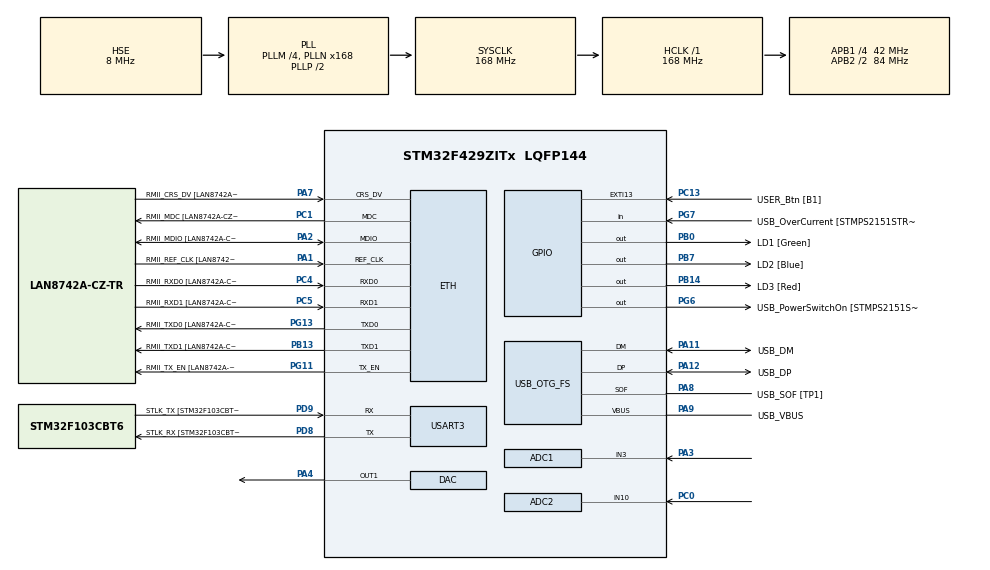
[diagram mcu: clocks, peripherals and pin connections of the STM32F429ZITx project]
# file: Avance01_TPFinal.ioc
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ADC1.Channel-4\#ChannelRegularConversion=ADC_CHANNEL_3
ADC1.ContinuousConvMode=DISABLE
ADC1.DMAContinuousRequests=ENABLE
ADC1.ExternalTrigConv=ADC_EXTERNALTRIGCONV_T3_TRGO
ADC1.InjNumberOfConversion=0
ADC1.NbrOfConversion=1
ADC1.NbrOfConversionFlag=1
ADC1.Rank-4\#ChannelRegularConversion=1
ADC1.SamplingTime-4\#ChannelRegularConversion=ADC_SAMPLETIME_84CYCLES
ADC1.master=1
ADC2.Channel-0\#ChannelRegularConversion=ADC_CHANNEL_10
ADC2.DMAContinuousRequests=ENABLE
ADC2.ExternalTrigConv=ADC_EXTERNALTRIGCONV_T3_TRGO
ADC2.NbrOfConversionFlag=1
ADC2.Rank-0\#ChannelRegularConversion=1
ADC2.SamplingTime-0\#ChannelRegularConversion=ADC_SAMPLETIME_84CYCLES
DAC.DAC_Trigger=DAC_TRIGGER_NONE
Dma.ADC1.1.Direction=DMA_PERIPH_TO_MEMORY
Dma.ADC1.1.FIFOMode=DMA_FIFOMODE_DISABLE
Dma.ADC1.1.Instance=DMA2_Stream0
Dma.ADC1.1.MemDataAlignment=DMA_MDATAALIGN_HALFWORD
Dma.ADC1.1.MemInc=DMA_MINC_ENABLE
Dma.ADC1.1.Mode=DMA_CIRCULAR
Dma.ADC1.1.PeriphDataAlignment=DMA_PDATAALIGN_HALFWORD
Dma.ADC1.1.PeriphInc=DMA_PINC_DISABLE
Dma.ADC1.1.Priority=DMA_PRIORITY_LOW
Dma.ADC2.2.Direction=DMA_PERIPH_TO_MEMORY
Dma.ADC2.2.FIFOMode=DMA_FIFOMODE_DISABLE
Dma.ADC2.2.Instance=DMA2_Stream2
Dma.ADC2.2.MemDataAlignment=DMA_MDATAALIGN_HALFWORD
Dma.ADC2.2.MemInc=DMA_MINC_ENABLE
Dma.ADC2.2.Mode=DMA_CIRCULAR
Dma.ADC2.2.PeriphDataAlignment=DMA_PDATAALIGN_HALFWORD
Dma.ADC2.2.PeriphInc=DMA_PINC_DISABLE
Dma.ADC2.2.Priority=DMA_PRIORITY_LOW
Dma.DAC1.0.Direction=DMA_MEMORY_TO_PERIPH
Dma.DAC1.0.FIFOMode=DMA_FIFOMODE_DISABLE
Dma.DAC1.0.Instance=DMA1_Stream5
Dma.DAC1.0.MemDataAlignment=DMA_MDATAALIGN_WORD
Dma.DAC1.0.MemInc=DMA_MINC_ENABLE
Dma.DAC1.0.Mode=DMA_CIRCULAR
Dma.DAC1.0.PeriphDataAlignment=DMA_PDATAALIGN_WORD
Dma.DAC1.0.PeriphInc=DMA_PINC_DISABLE
Dma.DAC1.0.Priority=DMA_PRIORITY_LOW
Dma.Request0=DAC1
Dma.Request1=ADC1
Dma.Request2=ADC2
ETH.MediaInterface=HAL_ETH_RMII_MODE
ETH.PHY_Name=LAN8742A_PHY_ADDRESS
ETH.PHY_Value=0
ETH.PhyAddress=0
LWIP.BSP.number=1
LWIP.GATEWAY_ADDRESS=192.168.005.001
LWIP.IP_ADDRESS=192.168.005.226
LWIP.LWIP_DHCP=0
LWIP.NETMASK_ADDRESS=255.255.255.000
LWIP.Version=v2.1.2_Cube
LWIP0.BSP.STBoard=false
LWIP0.BSP.api=BSP_COMPONENT_DRIVER
LWIP0.BSP.component=LAN8742
LWIP0.BSP.instance=LAN8742
LWIP0.BSP.name=Driver_PHY
LWIP0.BSP.semaphore=S_LAN8742
LWIP0.BSP.solution=LAN8742
Mcu.Family=STM32F4
Mcu.Name=STM32F429ZITx
Mcu.Package=LQFP144
NVIC.ADC_IRQn=true\:0\:0\:false\:false\:true\:true\:true\:true
NVIC.DMA1_Stream5_IRQn=true\:0\:0\:false\:false\:true\:false\:true\:true
NVIC.DMA2_Stream0_IRQn=true\:0\:0\:false\:false\:true\:false\:true\:true
NVIC.DMA2_Stream2_IRQn=true\:0\:0\:false\:false\:true\:false\:true\:true
NVIC.ETH_IRQn=true\:0\:0\:false\:false\:true\:true\:true\:true
NVIC.PriorityGroup=NVIC_PRIORITYGROUP_4
NVIC.TIM1_UP_TIM10_IRQn=true\:0\:0\:false\:false\:true\:true\:true\:true
NVIC.TIM3_IRQn=true\:0\:0\:false\:false\:true\:true\:true\:true
NVIC.TIM6_DAC_IRQn=true\:0\:0\:false\:false\:true\:true\:true\:true
NVIC.TIM8_UP_TIM13_IRQn=true\:0\:0\:false\:false\:true\:true\:true\:true
PA1.GPIO_Label=RMII_REF_CLK [LAN8742A-CZ-TR_REFCLK0]
PA1.Mode=RMII
PA1.Signal=ETH_REF_CLK
PA10.GPIO_Label=USB_ID
PA10.Signal=USB_OTG_FS_ID
PA11.GPIO_Label=USB_DM
PA11.Mode=Device_Only
PA11.Signal=USB_OTG_FS_DM
PA12.GPIO_Label=USB_DP
PA12.Mode=Device_Only
PA12.Signal=USB_OTG_FS_DP
PA13.GPIO_Label=TMS
PA13.Mode=Serial_Wire
PA13.Signal=SYS_JTMS-SWDIO
PA14.GPIO_Label=TCK
PA14.Mode=Serial_Wire
PA14.Signal=SYS_JTCK-SWCLK
PA2.GPIO_Label=RMII_MDIO [LAN8742A-CZ-TR_MDIO]
PA2.Mode=RMII
PA2.Signal=ETH_MDIO
PA3.Signal=ADCx_IN3
PA4.Signal=COMP_DAC1_group
PA7.GPIO_Label=RMII_CRS_DV [LAN8742A-CZ-TR_CRS_DV]
PA7.Mode=RMII
PA7.Signal=ETH_CRS_DV
PA8.GPIO_Label=USB_SOF [TP1]
PA8.Mode=Activate_SOF_FS
PA8.Signal=USB_OTG_FS_SOF
PA9.GPIO_Label=USB_VBUS
PA9.Mode=Activate_VBUS
PA9.Signal=USB_OTG_FS_VBUS
PB0.GPIO_Label=LD1 [Green]
PB0.Signal=GPIO_Output
PB13.GPIO_Label=RMII_TXD1 [LAN8742A-CZ-TR_TXD1]
PB13.Mode=RMII
PB13.Signal=ETH_TXD1
PB14.GPIO_Label=LD3 [Red]
PB14.Signal=GPIO_Output
PB7.GPIO_Label=LD2 [Blue]
PB7.Signal=GPIO_Output
PC0.Signal=ADCx_IN10
PC1.GPIO_Label=RMII_MDC [LAN8742A-CZ-TR_MDC]
PC1.Mode=RMII
PC1.Signal=ETH_MDC
PC13.GPIO_Label=USER_Btn [B1]
PC13.Signal=GPXTI13
PC14/OSC32_IN.Mode=LSE-External-Oscillator
PC14/OSC32_IN.Signal=RCC_OSC32_IN
PC15/OSC32_OUT.Mode=LSE-External-Oscillator
PC15/OSC32_OUT.Signal=RCC_OSC32_OUT
PC4.GPIO_Label=RMII_RXD0 [LAN8742A-CZ-TR_RXD0]
PC4.Mode=RMII
PC4.Signal=ETH_RXD0
PC5.GPIO_Label=RMII_RXD1 [LAN8742A-CZ-TR_RXD1]
PC5.Mode=RMII
PC5.Signal=ETH_RXD1
PD8.GPIO_Label=STLK_RX [STM32F103CBT6_PA3]
PD8.Mode=Asynchronous
PD8.Signal=USART3_TX
PD9.GPIO_Label=STLK_TX [STM32F103CBT6_PA2]
PD9.Mode=Asynchronous
PD9.Signal=USART3_RX
PG11.GPIO_Label=RMII_TX_EN [LAN8742A-CZ-TR_TXEN]
PG11.Mode=RMII
PG11.Signal=ETH_TX_EN
PG13.GPIO_Label=RMII_TXD0 [LAN8742A-CZ-TR_TXD0]
PG13.Mode=RMII
PG13.Signal=ETH_TXD0
PG6.GPIO_Label=USB_PowerSwitchOn [STMPS2151STR_EN]
PG6.Signal=GPIO_Output
PG7.GPIO_Label=USB_OverCurrent [STMPS2151STR_FAULT]
PG7.Signal=GPIO_Input
PH0/OSC_IN.GPIO_Label=MCO [STM32F103CBT6_PA8]
PH0/OSC_IN.Mode=HSE-External-Clock-Source
PH0/OSC_IN.Signal=RCC_OSC_IN
PH1/OSC_OUT.Mode=HSE-External-Clock-Source
PH1/OSC_OUT.Signal=RCC_OSC_OUT
ProjectManager.HeapSize=0x200
ProjectManager.StackSize=0x400
ProjectManager.TargetToolchain=STM32CubeIDE
RCC.48MHZClocksFreq_Value=48000000
RCC.AHBFreq_Value=168000000
RCC.APB1CLKDivider=RCC_HCLK_DIV4
RCC.APB1Freq_Value=42000000
RCC.APB1TimFreq_Value=84000000
RCC.APB2CLKDivider=RCC_HCLK_DIV2
RCC.APB2Freq_Value=84000000
RCC.APB2TimCLKDivider=2
RCC.APB2TimFreq_Value=168000000
RCC.CortexFreq_Value=168000000
RCC.HCLKFreq_Value=168000000
RCC.HSE_VALUE=8000000
RCC.HSI_VALUE=16000000
RCC.PLLM=4
RCC.PLLMUL=RCC_PLL_MUL9
RCC.PLLN=168
RCC.PLLQ=7
RCC.PRESCALERUSB=RCC_USBCLKSOURCE_PLL_DIV1_5
RCC.SYSCLKFreq_VALUE=168000000
RCC.SYSCLKSource=RCC_SYSCLKSOURCE_PLLCLK
RCC.SYSCLKSourceVirtual=RCC_SYSCLKSOURCE_PLLCLK
RCC.USBFreq_Value=48000000
RCC.VCOOutputFreq_Value=336000000
SH.ADCx_IN10.0=ADC2_IN10,IN10
SH.ADCx_IN3.0=ADC1_IN3,IN3
SH.COMP_DAC1_group.0=DAC_OUT1,DAC_OUT1
TIM1.AutoReloadPreload=TIM_AUTORELOAD_PRELOAD_ENABLE
TIM1.Period=1680-1
TIM1.Prescaler=20-1
TIM3.AutoReloadPreload=TIM_AUTORELOAD_PRELOAD_ENABLE
TIM3.Period=8400-1
TIM3.Prescaler=50-1
TIM3.TIM_MasterOutputTrigger=TIM_TRGO_UPDATE
TIM8.AutoReloadPreload=TIM_AUTORELOAD_PRELOAD_ENABLE
TIM8.Period=16800-1
TIM8.Prescaler=8000-1
TIM8.TIM_MasterOutputTrigger=TIM_TRGO_UPDATE
USART3.VirtualMode=VM_ASYNC
USB_OTG_FS.VirtualMode=Device_Only
VP_LWIP_VS_Enabled.Mode=Enabled
VP_TIM1_VS_ClockSourceINT.Mode=Internal
VP_TIM3_VS_ClockSourceINT.Mode=Internal
VP_TIM8_VS_ClockSourceINT.Mode=Internal
board=NUCLEO-F429ZI

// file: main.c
/* USER CODE BEGIN Header */
/**
 ******************************************************************************
 * @file           : main.c
 * @brief          : Main program body
 ******************************************************************************
 * @attention
 *
 * Copyright (c) 2024 STMicroelectronics.
 * All rights reserved.
 *
 * This software is licensed under terms that can be found in the LICENSE file
 * in the root directory of this software component.
 * If no LICENSE file comes with this software, it is provided AS-IS.
 *
 ******************************************************************************
 */
/* USER CODE END Header */
#include "main.h"
#include "adc.h"
#include "dac.h"
#include "dma.h"
#include "lwip.h"
#include "tim.h"
#include "usart.h"
#include "usb_otg.h"
#include "gpio.h"

/* USER CODE BEGIN Includes */
#include <stdbool.h>
#include "math.h"

#include "udp_client_comm.h"
#include "lwip/pbuf.h"
#include "lwip/udp.h"
#include <string.h>
#include <stdio.h>
/* USER CODE END Includes */

/* USER CODE BEGIN PTD */
typedef bool bool_t;

//struct header_struct {
//   char     pre[8];
//   uint32_t id;
//   uint16_t N;
//   uint16_t fs ;
//   uint16_t hLength ;
//   char     pos[4];
//} __attribute__ ((packed));
/* USER CODE END PTD */

/* USER CODE BEGIN PD */

#define DAC_VMAX   2480  // 4095 = 3.3V, 666 = 2.0V
#define DAC_VMIN    1241  // 4095 = 3.3V, 356 = 1.0V

#define DAC_VREF	3.3
#define DAC_RES		4096
#define SAMPLES_SIG	1800 // Tiempo en milisegundos
#define SAMPLES_ADC	40 		// Frecuencia muestreo ADC es 200 Hz
/* USER CODE END PD */

/* USER CODE BEGIN PM */

#ifdef __GNUC__
#define PUTCHAR_PROTOTYPE int __io_putchar(int ch)
#else
#define PUTCHAR_PROTOTYPE int fputc(int ch, FILE *f)
#endif
/* USER CODE END PM */

/* USER CODE BEGIN PV */
bool_t sig10hz_run = false;
bool_t dac_updt = false;
uint32_t dac_value = DAC_VMIN;

uint32_t square_vals[SAMPLES_SIG];

uint16_t adc_bufferIN[SAMPLES_ADC*2];
uint16_t adc_bufferOUT[SAMPLES_ADC*2];

uint16_t adc_samplesIN[SAMPLES_ADC];
uint16_t adc_samplesOUT[SAMPLES_ADC];

uint8_t tx_UDPout[SAMPLES_ADC*4];

bool_t sendtest=false;

bool_t rdy_midAD=false;
bool_t rdy_cpltAD=false;
bool_t proc_samples=false;

/* USER CODE END PV */

void SystemClock_Config(void);
/* USER CODE BEGIN PFP */

void app_startSignal10Hz(void);
void app_stopSignal10Hz(void);

void app_generateSquare(uint32_t *buff, uint32_t len, uint8_t duty);

//void app_setDACvalue(void);

/* USER CODE END PFP */

int main(void)
{

  /* MCU Configuration--------------------------------------------------------*/

  /* Reset of all peripherals, Initializes the Flash interface and the Systick. */
  HAL_Init();

  /* Configure the system clock */
  SystemClock_Config();

  /* Initialize all configured peripherals */
  MX_GPIO_Init();
  MX_DMA_Init();
  MX_USART3_UART_Init();
  MX_USB_OTG_FS_PCD_Init();
  MX_DAC_Init();
  MX_ADC1_Init();
  MX_TIM1_Init();
  MX_LWIP_Init();
  MX_TIM8_Init();
  MX_TIM3_Init();
  MX_ADC2_Init();
  /* USER CODE BEGIN 2 */
	udpApp_client_Initialization();

	HAL_DAC_SetValue(&hdac, DAC_CHANNEL_1, DAC_ALIGN_12B_R, DAC_VMIN);
//	app_generateSquare(square_vals, SAMPLES_SIG, 50);
//	app_startSignal10Hz();

	HAL_ADC_Start_DMA(&hadc1, (uint32_t*)adc_bufferIN, SAMPLES_ADC*2);
	HAL_ADC_Start_DMA(&hadc2, (uint32_t*)adc_bufferOUT, SAMPLES_ADC*2);
	HAL_DAC_Start(&hdac, DAC_CHANNEL_1);
	HAL_TIM_Base_Start_IT(&htim3);
	HAL_TIM_Base_Start_IT(&htim8);
	printf("Hola mundo CDI\n");

  /* USER CODE END 2 */

  /* Infinite loop */
	while (1) {

    /* USER CODE BEGIN 3 */
		MX_LWIP_Process();	//!> Proceso de STM32 HAL LWIP utilizado para el manejo del servicio ethernet

		if (dac_updt) {
			HAL_GPIO_TogglePin(LD3_GPIO_Port, LD3_Pin);
//			dac_value  = DAC_VMIN + rand() % (DAC_VMAX+1 - DAC_VMIN);
			if (dac_value == DAC_VMIN) dac_value=DAC_VMAX;
			else dac_value = DAC_VMIN;

			HAL_DAC_SetValue(&hdac, DAC_CHANNEL_1, DAC_ALIGN_12B_R, dac_value);
			dac_updt = false;
		}

		if (rdy_midAD) {
//			HAL_GPIO_TogglePin(LD2_GPIO_Port, LD2_Pin);
			memcpy(adc_samplesIN, &adc_bufferIN[0], sizeof(adc_bufferIN) / 2 );
			memcpy(adc_samplesOUT, &adc_bufferOUT[0], sizeof(adc_bufferOUT) / 2 );
			rdy_midAD=false;
			proc_samples=true;
		}

		if (rdy_cpltAD) {
//			HAL_GPIO_TogglePin(LD3_GPIO_Port, LD3_Pin);
			memcpy(adc_samplesIN, &adc_bufferIN[SAMPLES_ADC], sizeof(adc_bufferIN) / 2);
			memcpy(adc_samplesOUT, &adc_bufferOUT[SAMPLES_ADC], sizeof(adc_bufferOUT) / 2);
			rdy_cpltAD=false;
			proc_samples=true;
		}

		if (proc_samples) {
			HAL_GPIO_TogglePin(LD1_GPIO_Port, LD1_Pin);

			memcpy(&tx_UDPout[0], &adc_samplesIN[0], sizeof(adc_samplesIN));
			memcpy(&tx_UDPout[sizeof(adc_samplesIN)], &adc_samplesOUT[0], sizeof(adc_samplesOUT));

			udpApp_client_send2((char*)&tx_UDPout,sizeof(tx_UDPout));

			proc_samples=false;
		}

	}
  /* USER CODE END 3 */
}

void SystemClock_Config(void)
{
  RCC_OscInitTypeDef RCC_OscInitStruct = {0};
  RCC_ClkInitTypeDef RCC_ClkInitStruct = {0};

  /** Configure the main internal regulator output voltage
  */
  __HAL_RCC_PWR_CLK_ENABLE();
  __HAL_PWR_VOLTAGESCALING_CONFIG(PWR_REGULATOR_VOLTAGE_SCALE1);

  /** Initializes the RCC Oscillators according to the specified parameters
  * in the RCC_OscInitTypeDef structure.
  */
  RCC_OscInitStruct.OscillatorType = RCC_OSCILLATORTYPE_HSE;
  RCC_OscInitStruct.HSEState = RCC_HSE_BYPASS;
  RCC_OscInitStruct.PLL.PLLState = RCC_PLL_ON;
  RCC_OscInitStruct.PLL.PLLSource = RCC_PLLSOURCE_HSE;
  RCC_OscInitStruct.PLL.PLLM = 4;
  RCC_OscInitStruct.PLL.PLLN = 168;
  RCC_OscInitStruct.PLL.PLLP = RCC_PLLP_DIV2;
  RCC_OscInitStruct.PLL.PLLQ = 7;
  if (HAL_RCC_OscConfig(&RCC_OscInitStruct) != HAL_OK)
  {
    Error_Handler();
  }

  /** Initializes the CPU, AHB and APB buses clocks
  */
  RCC_ClkInitStruct.ClockType = RCC_CLOCKTYPE_HCLK|RCC_CLOCKTYPE_SYSCLK
                              |RCC_CLOCKTYPE_PCLK1|RCC_CLOCKTYPE_PCLK2;
  RCC_ClkInitStruct.SYSCLKSource = RCC_SYSCLKSOURCE_PLLCLK;
  RCC_ClkInitStruct.AHBCLKDivider = RCC_SYSCLK_DIV1;
  RCC_ClkInitStruct.APB1CLKDivider = RCC_HCLK_DIV4;
  RCC_ClkInitStruct.APB2CLKDivider = RCC_HCLK_DIV2;

  if (HAL_RCC_ClockConfig(&RCC_ClkInitStruct, FLASH_LATENCY_5) != HAL_OK)
  {
    Error_Handler();
  }
}

/* USER CODE BEGIN 4 */

PUTCHAR_PROTOTYPE {
	HAL_UART_Transmit(&huart3, (uint8_t*) &ch, 1, HAL_MAX_DELAY);
	return ch;
}

void app_startSignal10Hz(void) {
	if (!sig10hz_run) {
		HAL_TIM_Base_Start_IT(&htim8);
//		HAL_DAC_Start_DMA(&hdac, DAC_CHANNEL_1, square_vals, SAMPLES_SIG,
//				DAC_ALIGN_12B_R);
		sig10hz_run = true;
	}
}

void app_stopSignal10Hz(void) {
	if (sig10hz_run) {
		HAL_DAC_Stop_DMA(&hdac, DAC_CHANNEL_1);
		HAL_TIM_Base_Stop(&htim8);
		sig10hz_run = false;
	}
}

//void app_generateSquare(uint32_t *buff, uint32_t len, uint8_t duty) {
//	uint32_t n_low = (uint32_t) (((uint64_t) duty * (uint64_t) len) / 100);
//	uint32_t n_high = len - n_low;
//
//	for (int var = 0; var < n_low; ++var) {
//		buff[var] = (uint32_t) (DAC_VMIN * DAC_RES) / DAC_VREF;
//		;
//	}
//
//	for (int var = n_low; var < n_low + n_high; ++var) {
//		buff[var] = (uint32_t) (DAC_VMAX * DAC_RES) / DAC_VREF;
//		;
//	}
//	printf("N bajo es : %d\n", n_low);
//
//	printf("N alto es : %d\n", n_high);
//}

void HAL_ADC_ConvHalfCpltCallback(ADC_HandleTypeDef *hadc)
{
	if (hadc == &hadc1 || hadc == &hadc2) {
		if (!rdy_midAD) rdy_midAD=true;
	}
}

void HAL_ADC_ConvCpltCallback(ADC_HandleTypeDef *hadc)
{
	if (hadc == &hadc1 || hadc == &hadc2) {
		if (!rdy_cpltAD) rdy_cpltAD=true;
	}
}

void HAL_TIM_PeriodElapsedCallback(TIM_HandleTypeDef *htim)
{
  // Check which version of the timer triggered this callback and toggle LED
  if (htim == &htim8 )
  {
		if (!dac_updt) dac_updt=true;
  }
}

/* USER CODE END 4 */

void Error_Handler(void)
{
	__disable_irq();
	while (1) {
	}
}
